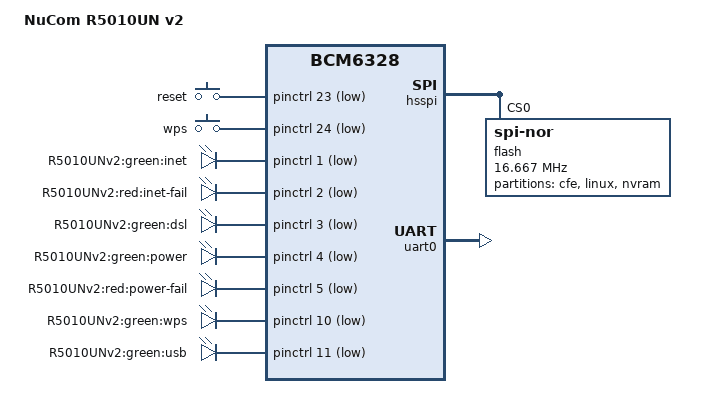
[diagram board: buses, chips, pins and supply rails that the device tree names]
/dts-v1/;

#include "bcm6328.dtsi"

#include <dt-bindings/input/input.h>

/ {
	model = "NuCom R5010UN v2";
	compatible = "nucom,r5010un-v2", "brcm,bcm6328";

	aliases {
		led-boot = &led_power_green;
		led-failsafe = &led_power_green;
		led-running = &led_power_green;
		led-upgrade = &led_power_green;
	};

	chosen {
		bootargs = "rootfstype=squashfs,jffs2 noinitrd console=ttyS0,115200";
		stdout-path = "serial0:115200n8";
	};

	keys {
		compatible = "gpio-keys-polled";
		#address-cells = <1>;
		#size-cells = <0>;
		poll-interval = <20>;

		reset {
			label = "reset";
			gpios = <&pinctrl 23 1>;
			linux,code = <KEY_RESTART>;
			debounce-interval = <60>;
		};

		wps {
			label = "wps";
			gpios = <&pinctrl 24 1>;
			linux,code = <KEY_WPS_BUTTON>;
			debounce-interval = <60>;
		};
	};

	leds {
		compatible = "gpio-leds";

		inet_green {
			label = "R5010UNv2:green:inet";
			gpios = <&pinctrl 1 1>;
		};
		inet_fail_red {
			label = "R5010UNv2:red:inet-fail";
			gpios = <&pinctrl 2 1>;
		};
		dsl_red {
			label = "R5010UNv2:green:dsl";
			gpios = <&pinctrl 3 1>;
		};
		led_power_green: power_green {
			label = "R5010UNv2:green:power";
			gpios = <&pinctrl 4 1>;
			default-state = "on";
		};
		power_fail_red {
			label = "R5010UNv2:red:power-fail";
			gpios = <&pinctrl 5 1>;
		};
		wps_green {
			label = "R5010UNv2:green:wps";
			gpios = <&pinctrl 10 1>;
		};
		usb_green {
			label = "R5010UNv2:green:usb";
			gpios = <&pinctrl 11 1>;
		};
	};
};

&hsspi {
	status = "okay";

	flash@0 {
		compatible = "jedec,spi-nor";
		spi-max-frequency = <16666667>;
		spi-tx-bus-width = <2>;
		spi-rx-bus-width = <2>;
		reg = <0>;

		#address-cells = <1>;
		#size-cells = <1>;

		partitions {
			compatible = "fixed-partitions";
			#address-cells = <1>;
			#size-cells = <1>;

			partition@0 {
				reg = <0x000000 0x010000>;
				label = "cfe";
				read-only;
			};

			partition@10000 {
				reg = <0x010000 0xfe0000>;
				label = "linux";
				compatible = "brcm,bcm963xx-imagetag";
			};

			partition@ff0000 {
				reg = <0xff0000 0x010000>;
				label = "nvram";
			};
		};
	};
};

&uart0 {
	status = "okay";
};
